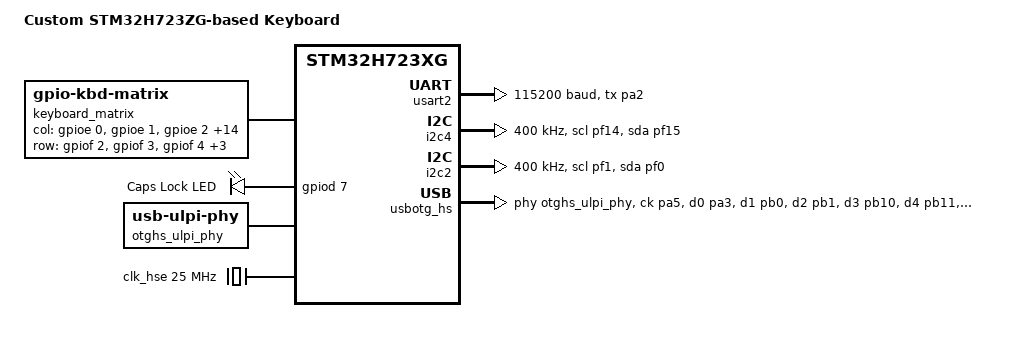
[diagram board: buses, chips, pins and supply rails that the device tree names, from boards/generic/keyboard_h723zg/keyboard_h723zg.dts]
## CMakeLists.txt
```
# SPDX-License-Identifier: Apache-2.0

cmake_minimum_required(VERSION 3.20.0)
set(BOARD_ROOT ${CMAKE_CURRENT_SOURCE_DIR})
find_package(Zephyr REQUIRED HINTS $ENV{ZEPHYR_BASE})
project(hid-keyboard)

FILE(GLOB app_sources src/*.c)
target_sources(app PRIVATE ${app_sources})
```

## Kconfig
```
# SPDX-License-Identifier: Apache-2.0

menu "Keyboard USB Configuration"
	depends on USB_DEVICE_STACK_NEXT

config KEYBOARD_USBD_MANUFACTURER
	string "USB manufacturer string"
	default "Custom"
	help
	  USB device manufacturer string.

config KEYBOARD_USBD_PRODUCT
	string "USB product string"
	default "Keyboard"
	help
	  USB device product string.

config KEYBOARD_USBD_VID
	hex "USB Vendor ID"
	default 0x1209
	help
	  USB Vendor ID. Default 0x1209 is pid.codes test VID.
	  For production, obtain your own VID.

config KEYBOARD_USBD_PID
	hex "USB Product ID"
	default 0x0001
	help
	  USB Product ID.

config KEYBOARD_USBD_SELF_POWERED
	bool "Self-powered device"
	default n
	help
	  Set if the device is self-powered (not drawing from USB).

config KEYBOARD_USBD_REMOTE_WAKEUP
	bool "Remote wakeup support"
	default y
	help
	  Allow the keyboard to wake the host from suspend.

config KEYBOARD_USBD_MAX_POWER
	int "Max power (2mA units)"
	default 50
	range 0 250
	help
	  Maximum power consumption in 2mA units (50 = 100mA).

endmenu

source "Kconfig.zephyr"
```

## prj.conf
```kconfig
CONFIG_USB_DEVICE_STACK_NEXT=y
CONFIG_CDC_ACM_SERIAL_INITIALIZE_AT_BOOT=n
CONFIG_USBD_HID_SUPPORT=y

CONFIG_LOG=y
CONFIG_USBD_LOG_LEVEL_WRN=y
CONFIG_USBD_HID_LOG_LEVEL_WRN=y
CONFIG_UDC_DRIVER_LOG_LEVEL_WRN=y
CONFIG_KEYBOARD_USBD_PID=0x0007
CONFIG_KEYBOARD_USBD_MANUFACTURER="Lawrence"
CONFIG_KEYBOARD_USBD_PRODUCT="TKL Keyboard"

CONFIG_GPIO=y
CONFIG_INPUT=y
CONFIG_INPUT_MODE_SYNCHRONOUS=y
CONFIG_INPUT_GPIO_KBD_MATRIX=y
CONFIG_INPUT_KEYMAP=y
```

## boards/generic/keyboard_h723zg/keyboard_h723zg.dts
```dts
/*
 * Copyright (c) 2026 Lawrence Langat <lawrencelangatmi@gmail.com>
 * SPDX-License-Identifier: Apache-2.0
 */

/dts-v1/;
#include <st/h7/stm32h723Xg.dtsi>
#include <st/h7/stm32h723zgtx-pinctrl.dtsi>
#include <zephyr/dt-bindings/input/input-event-codes.h>
#include <zephyr/dt-bindings/input/keymap.h>

/ {
	model = "Custom STM32H723ZG-based Keyboard";
	compatible = "generic,keyboard_h723zg";

	chosen {
		zephyr,console = &usart2;
		zephyr,shell-uart = &usart2;
		zephyr,sram = &sram0;
		zephyr,flash = &flash0;
		zephyr,dtcm = &dtcm;
	};

	keyboard_matrix: keyboard_matrix {
		compatible = "gpio-kbd-matrix";

		col-gpios = <&gpioe 0 GPIO_ACTIVE_HIGH>,
			    <&gpioe 1 GPIO_ACTIVE_HIGH>,
			    <&gpioe 2 GPIO_ACTIVE_HIGH>,
			    <&gpioe 3 GPIO_ACTIVE_HIGH>,
			    <&gpioe 4 GPIO_ACTIVE_HIGH>,
			    <&gpioe 5 GPIO_ACTIVE_HIGH>,
			    <&gpioe 6 GPIO_ACTIVE_HIGH>,
			    <&gpioe 7 GPIO_ACTIVE_HIGH>,
			    <&gpioe 8 GPIO_ACTIVE_HIGH>,
			    <&gpioe 9 GPIO_ACTIVE_HIGH>,
			    <&gpioe 10 GPIO_ACTIVE_HIGH>,
			    <&gpioe 11 GPIO_ACTIVE_HIGH>,
			    <&gpioe 12 GPIO_ACTIVE_HIGH>,
			    <&gpioe 13 GPIO_ACTIVE_HIGH>,
			    <&gpioe 14 GPIO_ACTIVE_HIGH>,
			    <&gpioe 15 GPIO_ACTIVE_HIGH>,
			    <&gpiof 13 GPIO_ACTIVE_HIGH>;

		row-gpios = <&gpiof 2 (GPIO_PULL_DOWN | GPIO_ACTIVE_HIGH)>,
			    <&gpiof 3 (GPIO_PULL_DOWN | GPIO_ACTIVE_HIGH)>,
			    <&gpiof 4 (GPIO_PULL_DOWN | GPIO_ACTIVE_HIGH)>,
			    <&gpiof 5 (GPIO_PULL_DOWN | GPIO_ACTIVE_HIGH)>,
			    <&gpiof 10 (GPIO_PULL_DOWN | GPIO_ACTIVE_HIGH)>,
			    <&gpiof 11 (GPIO_PULL_DOWN | GPIO_ACTIVE_HIGH)>;

		/* Use polling mode - required for STM32 with limited interrupt support */
		idle-mode = "poll";
		poll-period-ms = <5>;
		debounce-down-ms = <10>;
		debounce-up-ms = <20>;
		col-drive-inactive;
		no-ghostkey-check;

		keymap {
			compatible = "input-keymap";
			row-size = <6>;
			col-size = <17>;

			/*
			 * Keymap based on ZMK matrix transform:
			 * Row 0: Esc, F1-F12, (gap at 13), PrtSc, ScrLk, Pause
			 * Row 1: `, 1-0, -, =, Backspace, Ins, Home, PgUp
			 * Row 2: Tab, Q-P, [, ], \, Del, End, PgDn
			 * Row 3: CapsLock, A-L, ;, ', Enter
			 * Row 4: LShift, Z-M, ,, ., /, RShift, (gap), Up
			 * Row 5: LCtrl, LWin, LAlt, (gaps), Space, (gaps), RAlt, RWin, Menu, RCtrl, Left, Down, Right
			 */
			keymap = <
				/* Row 0: Function row */
				MATRIX_KEY(0, 0, INPUT_KEY_ESC)
				MATRIX_KEY(0, 1, INPUT_KEY_F1)
				MATRIX_KEY(0, 2, INPUT_KEY_F2)
				MATRIX_KEY(0, 3, INPUT_KEY_F3)
				MATRIX_KEY(0, 4, INPUT_KEY_F4)
				MATRIX_KEY(0, 5, INPUT_KEY_F5)
				MATRIX_KEY(0, 6, INPUT_KEY_F6)
				MATRIX_KEY(0, 7, INPUT_KEY_F7)
				MATRIX_KEY(0, 8, INPUT_KEY_F8)
				MATRIX_KEY(0, 9, INPUT_KEY_F9)
				MATRIX_KEY(0, 10, INPUT_KEY_F10)
				MATRIX_KEY(0, 11, INPUT_KEY_F11)
				MATRIX_KEY(0, 12, INPUT_KEY_F12)
				/* Col 13 is gap */
				MATRIX_KEY(0, 14, INPUT_KEY_SYSRQ)
				MATRIX_KEY(0, 15, INPUT_KEY_SCROLLLOCK)
				MATRIX_KEY(0, 16, INPUT_KEY_PAUSE)

				/* Row 1: Number row */
				MATRIX_KEY(1, 0, INPUT_KEY_GRAVE)
				MATRIX_KEY(1, 1, INPUT_KEY_1)
				MATRIX_KEY(1, 2, INPUT_KEY_2)
				MATRIX_KEY(1, 3, INPUT_KEY_3)
				MATRIX_KEY(1, 4, INPUT_KEY_4)
				MATRIX_KEY(1, 5, INPUT_KEY_5)
				MATRIX_KEY(1, 6, INPUT_KEY_6)
				MATRIX_KEY(1, 7, INPUT_KEY_7)
				MATRIX_KEY(1, 8, INPUT_KEY_8)
				MATRIX_KEY(1, 9, INPUT_KEY_9)
				MATRIX_KEY(1, 10, INPUT_KEY_0)
				MATRIX_KEY(1, 11, INPUT_KEY_MINUS)
				MATRIX_KEY(1, 12, INPUT_KEY_EQUAL)
				MATRIX_KEY(1, 13, INPUT_KEY_BACKSPACE)
				MATRIX_KEY(1, 14, INPUT_KEY_INSERT)
				MATRIX_KEY(1, 15, INPUT_KEY_HOME)
				MATRIX_KEY(1, 16, INPUT_KEY_PAGEUP)

				/* Row 2: QWERTY row */
				MATRIX_KEY(2, 0, INPUT_KEY_TAB)
				MATRIX_KEY(2, 1, INPUT_KEY_Q)
				MATRIX_KEY(2, 2, INPUT_KEY_W)
				MATRIX_KEY(2, 3, INPUT_KEY_E)
				MATRIX_KEY(2, 4, INPUT_KEY_R)
				MATRIX_KEY(2, 5, INPUT_KEY_T)
				MATRIX_KEY(2, 6, INPUT_KEY_Y)
				MATRIX_KEY(2, 7, INPUT_KEY_U)
				MATRIX_KEY(2, 8, INPUT_KEY_I)
				MATRIX_KEY(2, 9, INPUT_KEY_O)
				MATRIX_KEY(2, 10, INPUT_KEY_P)
				MATRIX_KEY(2, 11, INPUT_KEY_LEFTBRACE)
				MATRIX_KEY(2, 12, INPUT_KEY_RIGHTBRACE)
				MATRIX_KEY(2, 13, INPUT_KEY_BACKSLASH)
				MATRIX_KEY(2, 14, INPUT_KEY_DELETE)
				MATRIX_KEY(2, 15, INPUT_KEY_END)
				MATRIX_KEY(2, 16, INPUT_KEY_PAGEDOWN)

				/* Row 3: Home row */
				MATRIX_KEY(3, 0, INPUT_KEY_CAPSLOCK)
				MATRIX_KEY(3, 1, INPUT_KEY_A)
				MATRIX_KEY(3, 2, INPUT_KEY_S)
				MATRIX_KEY(3, 3, INPUT_KEY_D)
				MATRIX_KEY(3, 4, INPUT_KEY_F)
				MATRIX_KEY(3, 5, INPUT_KEY_G)
				MATRIX_KEY(3, 6, INPUT_KEY_H)
				MATRIX_KEY(3, 7, INPUT_KEY_J)
				MATRIX_KEY(3, 8, INPUT_KEY_K)
				MATRIX_KEY(3, 9, INPUT_KEY_L)
				MATRIX_KEY(3, 10, INPUT_KEY_SEMICOLON)
				MATRIX_KEY(3, 11, INPUT_KEY_APOSTROPHE)
				MATRIX_KEY(3, 12, INPUT_KEY_ENTER)

				/* Row 4: Shift row */
				MATRIX_KEY(4, 0, INPUT_KEY_LEFTSHIFT)
				MATRIX_KEY(4, 1, INPUT_KEY_Z)
				MATRIX_KEY(4, 2, INPUT_KEY_X)
				MATRIX_KEY(4, 3, INPUT_KEY_C)
				MATRIX_KEY(4, 4, INPUT_KEY_V)
				MATRIX_KEY(4, 5, INPUT_KEY_B)
				MATRIX_KEY(4, 6, INPUT_KEY_N)
				MATRIX_KEY(4, 7, INPUT_KEY_M)
				MATRIX_KEY(4, 8, INPUT_KEY_COMMA)
				MATRIX_KEY(4, 9, INPUT_KEY_DOT)
				MATRIX_KEY(4, 10, INPUT_KEY_SLASH)
				MATRIX_KEY(4, 11, INPUT_KEY_RIGHTSHIFT)
				MATRIX_KEY(4, 12, INPUT_KEY_RIGHTSHIFT)
				/* Col 13, 14 are gaps */
				MATRIX_KEY(4, 15, INPUT_KEY_UP)

				/* Row 5: Bottom row */
				MATRIX_KEY(5, 0, INPUT_KEY_LEFTCTRL)
				MATRIX_KEY(5, 1, INPUT_KEY_LEFTMETA)
				MATRIX_KEY(5, 2, INPUT_KEY_LEFTALT)
				/* Cols 3-5 are gaps under space */
				MATRIX_KEY(5, 6, INPUT_KEY_SPACE)
				/* Cols 7-9 are gaps under space */
				MATRIX_KEY(5, 10, INPUT_KEY_RIGHTALT)
				MATRIX_KEY(5, 11, INPUT_KEY_RIGHTMETA)
				MATRIX_KEY(5, 12, INPUT_KEY_COMPOSE)
				MATRIX_KEY(5, 13, INPUT_KEY_RIGHTCTRL)
				MATRIX_KEY(5, 14, INPUT_KEY_LEFT)
				MATRIX_KEY(5, 15, INPUT_KEY_DOWN)
				MATRIX_KEY(5, 16, INPUT_KEY_RIGHT)
			>;
		};
	};

    leds {
        compatible = "gpio-leds";
        caps_lock_led: led_caps {
            gpios = <&gpiod 7 GPIO_ACTIVE_HIGH>;
            label = "Caps Lock LED";
        };
    };

	otghs_ulpi_phy: otghs_ulpis_phy {
		compatible = "usb-ulpi-phy";
		#phy-cells = <0>;
	};

	aliases {
		led0 = &caps_lock_led;
	};
};

&clk_lsi {
	status = "okay";
};

&clk_hse {
	clock-frequency = <DT_FREQ_M(25)>;
	status = "okay";
};

&clk_hsi48 {
	status = "okay";
};

&pll {
	div-m = <5>;
	mul-n = <110>;
	div-p = <1>;
	div-q = <5>;
	div-r = <2>;
	clocks = <&clk_hse>;
	status = "okay";
};

&rcc {
	clocks = <&pll>;
	clock-frequency = <DT_FREQ_M(550)>;
	d1cpre = <1>;
	hpre = <2>;    /* HCLK: 275   MHz */
	d1ppre = <2>;  /* APB1: 137.5 MHz */
	d2ppre1 = <2>; /* APB2: 137.5 MHz */
	d2ppre2 = <2>; /* APB3: 137.5 MHz */
	d3ppre = <2>;  /* APB4: 137.5 MHz */
};

&pwr {
	power-supply = "ldo";
};

&usart2 {
	pinctrl-0 = <&usart2_tx_pa2>;
	pinctrl-names = "default";
	current-speed = <115200>;
	status = "okay";
};

&rtc {
	status = "disabled";
};

&i2c4 {
	pinctrl-0 = <&i2c4_scl_pf14 &i2c4_sda_pf15>;
	pinctrl-names = "default";
	status = "okay";
	clock-frequency = <I2C_BITRATE_FAST>;
};

&i2c2 {
	pinctrl-0 = <&i2c2_scl_pf1 &i2c2_sda_pf0>;
	pinctrl-names = "default";
	status = "okay";
	clock-frequency = <I2C_BITRATE_FAST>;
};

zephyr_udc0: &usbotg_hs {
	status = "okay";
	pinctrl-0 = <&usb_otg_hs_ulpi_ck_pa5
		     &usb_otg_hs_ulpi_d0_pa3
		     &usb_otg_hs_ulpi_d1_pb0
		     &usb_otg_hs_ulpi_d2_pb1
		     &usb_otg_hs_ulpi_d3_pb10
		     &usb_otg_hs_ulpi_d4_pb11
		     &usb_otg_hs_ulpi_d5_pb12
		     &usb_otg_hs_ulpi_d6_pb13
		     &usb_otg_hs_ulpi_d7_pb5
		     &usb_otg_hs_ulpi_stp_pc0
		     &usb_otg_hs_ulpi_dir_pc2_c
		     &usb_otg_hs_ulpi_nxt_pc3_c>;
	pinctrl-names = "default";
	maximum-speed = "high-speed";
	/* Enable OTGHSULPIEN rather than OTGHSEN */
	clocks = <&rcc STM32_CLOCK_BUS_AHB1 0x6000000>,
		 <&rcc STM32_SRC_HSI48 USB_SEL(3)>;
	phys = <&otghs_ulpi_phy>;
	status = "okay";
};
```

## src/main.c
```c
/*
 * Copyright (c) 2026 Lawrence Langat <lawrencelangatmi@gmail.com>
 * 88-key USB HID Keyboard implementation
 */

#include "usbd_init.h"

#include <zephyr/kernel.h>
#include <zephyr/device.h>
#include <zephyr/drivers/gpio.h>
#include <zephyr/input/input.h>

#include <zephyr/usb/usbd.h>
#include <zephyr/usb/class/usbd_hid.h>

#include <zephyr/logging/log.h>
LOG_MODULE_REGISTER(main, LOG_LEVEL_INF);

static const uint8_t hid_report_desc[] = HID_KEYBOARD_REPORT_DESC();

/* LED indices for keyboard status LEDs */
enum kb_leds_idx {
	KB_LED_NUMLOCK = 0,
	KB_LED_CAPSLOCK,
	KB_LED_SCROLLLOCK,
	KB_LED_COUNT,
};

static const struct gpio_dt_spec kb_leds[KB_LED_COUNT] = {
	GPIO_DT_SPEC_GET_OR(DT_ALIAS(led0), gpios, {0}),
	GPIO_DT_SPEC_GET_OR(DT_ALIAS(led1), gpios, {0}),
	GPIO_DT_SPEC_GET_OR(DT_ALIAS(led2), gpios, {0}),
};

/* HID keyboard report structure (8 bytes for boot protocol) */
enum kb_report_idx {
	KB_MOD_KEY = 0,
	KB_RESERVED,
	KB_KEY_CODE1,
	KB_KEY_CODE2,
	KB_KEY_CODE3,
	KB_KEY_CODE4,
	KB_KEY_CODE5,
	KB_KEY_CODE6,
	KB_REPORT_COUNT,
};

#define MAX_PRESSED_KEYS 6

struct kb_event {
	uint16_t code;
	int32_t value;
};

K_MSGQ_DEFINE(kb_msgq, sizeof(struct kb_event), 16, 4);

UDC_STATIC_BUF_DEFINE(report, KB_REPORT_COUNT);
static uint32_t kb_duration;
static bool kb_ready;

/* Track currently pressed keys (up to 6 for 6KRO) */
static uint8_t pressed_keys[MAX_PRESSED_KEYS];
static uint8_t pressed_count;
static uint8_t modifier_state;

/*
 * INPUT_KEY to HID_KEY conversion table
 * Maps Linux input event codes to USB HID keyboard codes
 * Index: INPUT_KEY_* value, Value: HID_KEY_* value (0 = not mapped)
 */
static const uint8_t input_to_hid_key[] = {
	[INPUT_KEY_RESERVED] = 0,
	[INPUT_KEY_ESC] = HID_KEY_ESC,
	[INPUT_KEY_1] = HID_KEY_1,
	[INPUT_KEY_2] = HID_KEY_2,
	[INPUT_KEY_3] = HID_KEY_3,
	[INPUT_KEY_4] = HID_KEY_4,
	[INPUT_KEY_5] = HID_KEY_5,
	[INPUT_KEY_6] = HID_KEY_6,
	[INPUT_KEY_7] = HID_KEY_7,
	[INPUT_KEY_8] = HID_KEY_8,
	[INPUT_KEY_9] = HID_KEY_9,
	[INPUT_KEY_0] = HID_KEY_0,
	[INPUT_KEY_MINUS] = HID_KEY_MINUS,
	[INPUT_KEY_EQUAL] = HID_KEY_EQUAL,
	[INPUT_KEY_BACKSPACE] = HID_KEY_BACKSPACE,
	[INPUT_KEY_TAB] = HID_KEY_TAB,
	[INPUT_KEY_Q] = HID_KEY_Q,
	[INPUT_KEY_W] = HID_KEY_W,
	[INPUT_KEY_E] = HID_KEY_E,
	[INPUT_KEY_R] = HID_KEY_R,
	[INPUT_KEY_T] = HID_KEY_T,
	[INPUT_KEY_Y] = HID_KEY_Y,
	[INPUT_KEY_U] = HID_KEY_U,
	[INPUT_KEY_I] = HID_KEY_I,
	[INPUT_KEY_O] = HID_KEY_O,
	[INPUT_KEY_P] = HID_KEY_P,
	[INPUT_KEY_LEFTBRACE] = HID_KEY_LEFTBRACE,
	[INPUT_KEY_RIGHTBRACE] = HID_KEY_RIGHTBRACE,
	[INPUT_KEY_ENTER] = HID_KEY_ENTER,
	[INPUT_KEY_LEFTCTRL] = 0, /* Handled as modifier */
	[INPUT_KEY_A] = HID_KEY_A,
	[INPUT_KEY_S] = HID_KEY_S,
	[INPUT_KEY_D] = HID_KEY_D,
	[INPUT_KEY_F] = HID_KEY_F,
	[INPUT_KEY_G] = HID_KEY_G,
	[INPUT_KEY_H] = HID_KEY_H,
	[INPUT_KEY_J] = HID_KEY_J,
	[INPUT_KEY_K] = HID_KEY_K,
	[INPUT_KEY_L] = HID_KEY_L,
	[INPUT_KEY_SEMICOLON] = HID_KEY_SEMICOLON,
	[INPUT_KEY_APOSTROPHE] = HID_KEY_APOSTROPHE,
	[INPUT_KEY_GRAVE] = HID_KEY_GRAVE,
	[INPUT_KEY_LEFTSHIFT] = 0, /* Handled as modifier */
	[INPUT_KEY_BACKSLASH] = HID_KEY_BACKSLASH,
	[INPUT_KEY_Z] = HID_KEY_Z,
	[INPUT_KEY_X] = HID_KEY_X,
	[INPUT_KEY_C] = HID_KEY_C,
	[INPUT_KEY_V] = HID_KEY_V,
	[INPUT_KEY_B] = HID_KEY_B,
	[INPUT_KEY_N] = HID_KEY_N,
	[INPUT_KEY_M] = HID_KEY_M,
	[INPUT_KEY_COMMA] = HID_KEY_COMMA,
	[INPUT_KEY_DOT] = HID_KEY_DOT,
	[INPUT_KEY_SLASH] = HID_KEY_SLASH,
	[INPUT_KEY_RIGHTSHIFT] = 0, /* Handled as modifier */
	[INPUT_KEY_KPASTERISK] = HID_KEY_KPASTERISK,
	[INPUT_KEY_LEFTALT] = 0, /* Handled as modifier */
	[INPUT_KEY_SPACE] = HID_KEY_SPACE,
	[INPUT_KEY_CAPSLOCK] = HID_KEY_CAPSLOCK,
	[INPUT_KEY_F1] = HID_KEY_F1,
	[INPUT_KEY_F2] = HID_KEY_F2,
	[INPUT_KEY_F3] = HID_KEY_F3,
	[INPUT_KEY_F4] = HID_KEY_F4,
	[INPUT_KEY_F5] = HID_KEY_F5,
	[INPUT_KEY_F6] = HID_KEY_F6,
	[INPUT_KEY_F7] = HID_KEY_F7,
	[INPUT_KEY_F8] = HID_KEY_F8,
	[INPUT_KEY_F9] = HID_KEY_F9,
	[INPUT_KEY_F10] = HID_KEY_F10,
	[INPUT_KEY_NUMLOCK] = HID_KEY_NUMLOCK,
	[INPUT_KEY_SCROLLLOCK] = HID_KEY_SCROLLLOCK,
	[INPUT_KEY_KP7] = HID_KEY_KP_7,
	[INPUT_KEY_KP8] = HID_KEY_KP_8,
	[INPUT_KEY_KP9] = HID_KEY_KP_9,
	[INPUT_KEY_KPMINUS] = HID_KEY_KPMINUS,
	[INPUT_KEY_KP4] = HID_KEY_KP_4,
	[INPUT_KEY_KP5] = HID_KEY_KP_5,
	[INPUT_KEY_KP6] = HID_KEY_KP_6,
	[INPUT_KEY_KPPLUS] = HID_KEY_KPPLUS,
	[INPUT_KEY_KP1] = HID_KEY_KP_1,
	[INPUT_KEY_KP2] = HID_KEY_KP_2,
	[INPUT_KEY_KP3] = HID_KEY_KP_3,
	[INPUT_KEY_KP0] = HID_KEY_KP_0,
	[INPUT_KEY_KPDOT] = 99, /* HID_KEY_KPDOT */
	[INPUT_KEY_F11] = HID_KEY_F11,
	[INPUT_KEY_F12] = HID_KEY_F12,
	[INPUT_KEY_KPENTER] = HID_KEY_KPENTER,
	[INPUT_KEY_RIGHTCTRL] = 0, /* Handled as modifier */
	[INPUT_KEY_KPSLASH] = HID_KEY_KPSLASH,
	[INPUT_KEY_SYSRQ] = HID_KEY_SYSRQ,
	[INPUT_KEY_RIGHTALT] = 0, /* Handled as modifier */
	[INPUT_KEY_HOME] = HID_KEY_HOME,
	[INPUT_KEY_UP] = HID_KEY_UP,
	[INPUT_KEY_PAGEUP] = HID_KEY_PAGEUP,
	[INPUT_KEY_LEFT] = HID_KEY_LEFT,
	[INPUT_KEY_RIGHT] = HID_KEY_RIGHT,
	[INPUT_KEY_END] = HID_KEY_END,
	[INPUT_KEY_DOWN] = HID_KEY_DOWN,
	[INPUT_KEY_PAGEDOWN] = HID_KEY_PAGEDOWN,
	[INPUT_KEY_INSERT] = HID_KEY_INSERT,
	[INPUT_KEY_DELETE] = HID_KEY_DELETE,
	[INPUT_KEY_PAUSE] = HID_KEY_PAUSE,
	[INPUT_KEY_LEFTMETA] = 0, /* Handled as modifier */
	[INPUT_KEY_RIGHTMETA] = 0, /* Handled as modifier */
	[INPUT_KEY_COMPOSE] = 101, /* HID_KEY_COMPOSE / Application */
};

#define INPUT_TO_HID_TABLE_SIZE ARRAY_SIZE(input_to_hid_key)

/*
 * Check if the input key is a modifier key and return the modifier bit
 * Returns 0 if not a modifier
 */
static uint8_t get_modifier_bit(uint16_t input_code)
{
	switch (input_code) {
	case INPUT_KEY_LEFTCTRL:
		return HID_KBD_MODIFIER_LEFT_CTRL;
	case INPUT_KEY_LEFTSHIFT:
		return HID_KBD_MODIFIER_LEFT_SHIFT;
	case INPUT_KEY_LEFTALT:
		return HID_KBD_MODIFIER_LEFT_ALT;
	case INPUT_KEY_LEFTMETA:
		return HID_KBD_MODIFIER_LEFT_UI;
	case INPUT_KEY_RIGHTCTRL:
		return HID_KBD_MODIFIER_RIGHT_CTRL;
	case INPUT_KEY_RIGHTSHIFT:
		return HID_KBD_MODIFIER_RIGHT_SHIFT;
	case INPUT_KEY_RIGHTALT:
		return HID_KBD_MODIFIER_RIGHT_ALT;
	case INPUT_KEY_RIGHTMETA:
		return HID_KBD_MODIFIER_RIGHT_UI;
	default:
		return 0;
	}
}

/*
 * Convert INPUT_KEY code to HID key code
 * Returns 0 if not mappable (modifiers return 0 here, handled separately)
 */
static uint8_t input_to_hid(uint16_t input_code)
{
	if (input_code < INPUT_TO_HID_TABLE_SIZE) {
		return input_to_hid_key[input_code];
	}
	return 0;
}

/*
 * Add a key to the pressed keys array
 * Returns true if the key was added or already present
 */
static bool add_pressed_key(uint8_t hid_key)
{
	/* Check if already pressed */
	for (int i = 0; i < pressed_count; i++) {
		if (pressed_keys[i] == hid_key) {
			return true;
		}
	}

	/* Add if room available */
	if (pressed_count < MAX_PRESSED_KEYS) {
		pressed_keys[pressed_count++] = hid_key;
		return true;
	}

	LOG_WRN("6KRO limit reached, key ignored");
	return false;
}

/*
 * Remove a key from the pressed keys array
 */
static void remove_pressed_key(uint8_t hid_key)
{
	for (int i = 0; i < pressed_count; i++) {
		if (pressed_keys[i] == hid_key) {
			/* Shift remaining keys */
			for (int j = i; j < pressed_count - 1; j++) {
				pressed_keys[j] = pressed_keys[j + 1];
			}
			pressed_count--;
			return;
		}
	}
}

/*
 * Build the HID report from current state
 */
static void build_hid_report(void)
{
	memset(report, 0, KB_REPORT_COUNT);

	report[KB_MOD_KEY] = modifier_state;
	report[KB_RESERVED] = 0;

	for (int i = 0; i < pressed_count && i < MAX_PRESSED_KEYS; i++) {
		report[KB_KEY_CODE1 + i] = pressed_keys[i];
	}
}

/*
 * Process a key event and update state
 */
static void process_key_event(uint16_t input_code, bool pressed)
{
	uint8_t mod_bit = get_modifier_bit(input_code);

	if (mod_bit != 0) {
		/* Handle modifier keys */
		if (pressed) {
			modifier_state |= mod_bit;
		} else {
			modifier_state &= ~mod_bit;
		}
	} else {
		/* Handle regular keys */
		uint8_t hid_key = input_to_hid(input_code);

		if (hid_key != 0) {
			if (pressed) {
				add_pressed_key(hid_key);
			} else {
				remove_pressed_key(hid_key);
			}
		} else {
			LOG_DBG("Unmapped input code: %u", input_code);
		}
	}

	build_hid_report();
}

static void input_cb(struct input_event *evt, void *user_data)
{
	struct kb_event kb_evt;

	ARG_UNUSED(user_data);

	/* Only process key events */
	if (evt->type != INPUT_EV_KEY) {
		return;
	}

	kb_evt.code = evt->code;
	kb_evt.value = evt->value;
	if (k_msgq_put(&kb_msgq, &kb_evt, K_NO_WAIT) != 0) {
		LOG_ERR("Failed to put new input event");
	}
}

INPUT_CALLBACK_DEFINE(NULL, input_cb, NULL);

static void kb_iface_ready(const struct device *dev, const bool ready)
{
	LOG_INF("HID device %s interface is %s",
		dev->name, ready ? "ready" : "not ready");
	kb_ready = ready;
}

static int kb_get_report(const struct device *dev,
			 const uint8_t type, const uint8_t id, const uint16_t len,
			 uint8_t *const buf)
{
	if (type == HID_REPORT_TYPE_INPUT && len >= KB_REPORT_COUNT) {
		memcpy(buf, report, KB_REPORT_COUNT);
		return KB_REPORT_COUNT;
	}

	LOG_WRN("Get Report not implemented, Type %u ID %u", type, id);
	return 0;
}

static int kb_set_report(const struct device *dev,
			 const uint8_t type, const uint8_t id, const uint16_t len,
			 const uint8_t *const buf)
{
	if (type != HID_REPORT_TYPE_OUTPUT) {
		LOG_WRN("Unsupported report type");
		return -ENOTSUP;
	}

	/* Handle LED state from host */
	for (unsigned int i = 0; i < ARRAY_SIZE(kb_leds); i++) {
		if (kb_leds[i].port == NULL) {
			continue;
		}

		(void)gpio_pin_set_dt(&kb_leds[i], buf[0] & BIT(i));
	}

	return 0;
}

static void kb_set_idle(const struct device *dev,
			const uint8_t id, const uint32_t duration)
{
	LOG_INF("Set Idle %u to %u", id, duration);
	kb_duration = duration;
}

static uint32_t kb_get_idle(const struct device *dev, const uint8_t id)
{
	LOG_INF("Get Idle %u to %u", id, kb_duration);
	return kb_duration;
}

static void kb_set_protocol(const struct device *dev, const uint8_t proto)
{
	LOG_INF("Protocol changed to %s",
		proto == 0U ? "Boot Protocol" : "Report Protocol");
}

static void kb_output_report(const struct device *dev, const uint16_t len,
			     const uint8_t *const buf)
{
	LOG_HEXDUMP_DBG(buf, len, "o.r.");
	kb_set_report(dev, HID_REPORT_TYPE_OUTPUT, 0U, len, buf);
}

struct hid_device_ops kb_ops = {
	.iface_ready = kb_iface_ready,
	.get_report = kb_get_report,
	.set_report = kb_set_report,
	.set_idle = kb_set_idle,
	.get_idle = kb_get_idle,
	.set_protocol = kb_set_protocol,
	.output_report = kb_output_report,
};

static void msg_cb(struct usbd_context *const usbd_ctx,
		   const struct usbd_msg *const msg)
{
	LOG_INF("USBD message: %s", usbd_msg_type_string(msg->type));

	if (msg->type == USBD_MSG_CONFIGURATION) {
		LOG_INF("\tConfiguration value %d", msg->status);
	}

	if (usbd_can_detect_vbus(usbd_ctx)) {
		if (msg->type == USBD_MSG_VBUS_READY) {
			if (usbd_enable(usbd_ctx)) {
				LOG_ERR("Failed to enable device support");
			}
		}

		if (msg->type == USBD_MSG_VBUS_REMOVED) {
			if (usbd_disable(usbd_ctx)) {
				LOG_ERR("Failed to disable device support");
			}
		}
	}
}

int main(void)
{
	struct usbd_context *kbd_usbd;
	const struct device *hid_dev;
	int ret;

	/* Initialize LEDs */
	for (unsigned int i = 0; i < ARRAY_SIZE(kb_leds); i++) {
		if (kb_leds[i].port == NULL) {
			continue;
		}

		if (!gpio_is_ready_dt(&kb_leds[i])) {
			LOG_ERR("LED device %s is not ready", kb_leds[i].port->name);
			return -EIO;
		}

		ret = gpio_pin_configure_dt(&kb_leds[i], GPIO_OUTPUT_INACTIVE);
		if (ret != 0) {
			LOG_ERR("Failed to configure the LED pin, %d", ret);
			return -EIO;
		}
	}

	/* Initialize HID device */
	hid_dev = DEVICE_DT_GET_ONE(zephyr_hid_device);
	if (!device_is_ready(hid_dev)) {
		LOG_ERR("HID Device is not ready");
		return -EIO;
	}

	ret = hid_device_register(hid_dev,
				  hid_report_desc, sizeof(hid_report_desc),
				  &kb_ops);
	if (ret != 0) {
		LOG_ERR("Failed to register HID Device, %d", ret);
		return ret;
	}

	if (IS_ENABLED(CONFIG_USBD_HID_SET_POLLING_PERIOD)) {
		ret = hid_device_set_in_polling(hid_dev, 1000);
		if (ret) {
			LOG_WRN("Failed to set IN report polling period, %d", ret);
		}

		ret = hid_device_set_out_polling(hid_dev, 1000);
		if (ret != 0 && ret != -ENOTSUP) {
			LOG_WRN("Failed to set OUT report polling period, %d", ret);
		}
	}

	/* Initialize USB device */
	kbd_usbd = keyboard_usbd_init(msg_cb);
	if (kbd_usbd == NULL) {
		LOG_ERR("Failed to initialize USB device");
		return -ENODEV;
	}

	if (!usbd_can_detect_vbus(kbd_usbd)) {
		ret = usbd_enable(kbd_usbd);
		if (ret) {
			LOG_ERR("Failed to enable device support");
			return ret;
		}
	}

	LOG_INF("88-key HID keyboard initialized");

	/* Main event loop */
	while (true) {
		struct kb_event kb_evt;

		k_msgq_get(&kb_msgq, &kb_evt, K_FOREVER);

		/* Process the key event */
		process_key_event(kb_evt.code, kb_evt.value != 0);

		if (!kb_ready) {
			LOG_DBG("USB HID device is not ready");
			continue;
		}

		/* Handle remote wakeup if suspended */
		if (IS_ENABLED(CONFIG_KEYBOARD_USBD_REMOTE_WAKEUP) &&
		    usbd_is_suspended(kbd_usbd)) {
			if (kb_evt.value) {
				ret = usbd_wakeup_request(kbd_usbd);
				if (ret) {
					LOG_ERR("Remote wakeup error, %d", ret);
				}
			}
			continue;
		}

		/* Submit the HID report */
		ret = hid_device_submit_report(hid_dev, KB_REPORT_COUNT, report);
		if (ret) {
			LOG_ERR("HID submit report error, %d", ret);
		}
	}

	return 0;
}
```

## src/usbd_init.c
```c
/*
 * Copyright (c) 2026 Lawrence Langat <lawrencelangatmi@gmail.com>
 * USB device initialization for custom keyboard
 */

#include "usbd_init.h"

#include <stdint.h>

#include <zephyr/device.h>
#include <zephyr/usb/usbd.h>

#include <zephyr/logging/log.h>
LOG_MODULE_REGISTER(usbd_keyboard_config);

/*
 * Instantiate USB device context using configured VID/PID
 */
USBD_DEVICE_DEFINE(kbd_usbd,
		   DEVICE_DT_GET(DT_NODELABEL(zephyr_udc0)),
		   CONFIG_KEYBOARD_USBD_VID, CONFIG_KEYBOARD_USBD_PID);

/* String descriptors */
USBD_DESC_LANG_DEFINE(kbd_lang);
USBD_DESC_MANUFACTURER_DEFINE(kbd_mfr, CONFIG_KEYBOARD_USBD_MANUFACTURER);
USBD_DESC_PRODUCT_DEFINE(kbd_product, CONFIG_KEYBOARD_USBD_PRODUCT);

/* Configuration descriptors */
USBD_DESC_CONFIG_DEFINE(fs_cfg_desc, "FS Configuration");
USBD_DESC_CONFIG_DEFINE(hs_cfg_desc, "HS Configuration");

/* Configuration attributes */
static const uint8_t attributes = (IS_ENABLED(CONFIG_KEYBOARD_USBD_SELF_POWERED) ?
				   USB_SCD_SELF_POWERED : 0) |
				  (IS_ENABLED(CONFIG_KEYBOARD_USBD_REMOTE_WAKEUP) ?
				   USB_SCD_REMOTE_WAKEUP : 0);

/* Full speed configuration */
USBD_CONFIGURATION_DEFINE(kbd_fs_config,
			  attributes,
			  CONFIG_KEYBOARD_USBD_MAX_POWER, &fs_cfg_desc);

/* High speed configuration */
USBD_CONFIGURATION_DEFINE(kbd_hs_config,
			  attributes,
			  CONFIG_KEYBOARD_USBD_MAX_POWER, &hs_cfg_desc);

struct usbd_context *keyboard_usbd_init(usbd_msg_cb_t msg_cb)
{
	int err;

	/* Add string descriptors */
	err = usbd_add_descriptor(&kbd_usbd, &kbd_lang);
	if (err) {
		LOG_ERR("Failed to initialize language descriptor (%d)", err);
		return NULL;
	}

	err = usbd_add_descriptor(&kbd_usbd, &kbd_mfr);
	if (err) {
		LOG_ERR("Failed to initialize manufacturer descriptor (%d)", err);
		return NULL;
	}

	err = usbd_add_descriptor(&kbd_usbd, &kbd_product);
	if (err) {
		LOG_ERR("Failed to initialize product descriptor (%d)", err);
		return NULL;
	}

	/* Add high-speed configuration if supported */
	if (USBD_SUPPORTS_HIGH_SPEED &&
	    usbd_caps_speed(&kbd_usbd) == USBD_SPEED_HS) {
		err = usbd_add_configuration(&kbd_usbd, USBD_SPEED_HS,
					     &kbd_hs_config);
		if (err) {
			LOG_ERR("Failed to add High-Speed configuration");
			return NULL;
		}

		err = usbd_register_all_classes(&kbd_usbd, USBD_SPEED_HS, 1, NULL);
		if (err) {
			LOG_ERR("Failed to register HS classes");
			return NULL;
		}

		usbd_device_set_code_triple(&kbd_usbd, USBD_SPEED_HS, 0, 0, 0);
	}

	/* Add full-speed configuration */
	err = usbd_add_configuration(&kbd_usbd, USBD_SPEED_FS, &kbd_fs_config);
	if (err) {
		LOG_ERR("Failed to add Full-Speed configuration");
		return NULL;
	}

	err = usbd_register_all_classes(&kbd_usbd, USBD_SPEED_FS, 1, NULL);
	if (err) {
		LOG_ERR("Failed to register FS classes");
		return NULL;
	}

	usbd_device_set_code_triple(&kbd_usbd, USBD_SPEED_FS, 0, 0, 0);
	usbd_self_powered(&kbd_usbd, attributes & USB_SCD_SELF_POWERED);

	/* Register message callback */
	if (msg_cb != NULL) {
		err = usbd_msg_register_cb(&kbd_usbd, msg_cb);
		if (err) {
			LOG_ERR("Failed to register message callback");
			return NULL;
		}
	}

	/* Initialize USB device */
	err = usbd_init(&kbd_usbd);
	if (err) {
		LOG_ERR("Failed to initialize device support");
		return NULL;
	}

	return &kbd_usbd;
}
```

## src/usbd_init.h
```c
/*
 * Copyright (c) 2026 Lawrence Langat <lawrencelangatmi@gmail.com>
 */

#ifndef KEYBOARD_USBD_INIT_H
#define KEYBOARD_USBD_INIT_H

#include <zephyr/usb/usbd.h>

/*
 * Initialize and configure the USB device for the keyboard.
 *
 * This function configures the USB device context, string descriptors,
 * USB device configuration, registers HID class, and initializes the
 * USB device stack.
 *
 * @param msg_cb Optional message callback for USB events (can be NULL)
 * @return Pointer to initialized USB device context, or NULL on failure
 */
struct usbd_context *keyboard_usbd_init(usbd_msg_cb_t msg_cb);

#endif /* KEYBOARD_USBD_INIT_H */
```
